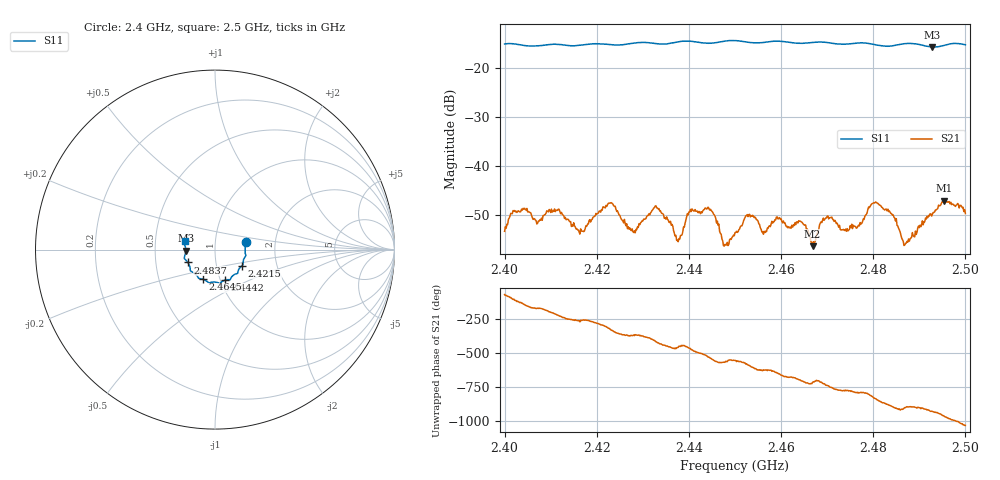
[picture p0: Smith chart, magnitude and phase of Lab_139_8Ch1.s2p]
# Hz S RI R 50
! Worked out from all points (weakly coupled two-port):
!   601 points, 2.4 GHz to 2.5 GHz, reference 50 ohm
!   highest |S21| = -47.16 dB at 2.4953 GHz (marker M1); lowest = -56.5 dB at 2.4668 GHz (marker M2)
!   lowest |S11| = -15.7 dB at 2.4928 GHz (marker M3), VSWR 1.39, Z = 35.9 - j0.394 ohm
!   |S11| at or under -10 dB: start of sweep to end of sweep
!   S12 and S22 are empty: the file has one direction only
!   S11 on the Smith chart (normalised r, x): 2.4 GHz: 1.41, +0.12; 2.4215 GHz: 1.33, -0.25; 2.4442 GHz: 1.05, -0.37; 2.4645 GHz: 0.83, -0.29; 2.4837 GHz: 0.73, -0.11; 2.5 GHz: 0.71, +0.07
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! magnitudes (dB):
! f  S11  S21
! 2.4 GHz  -15.1  -53.4
! 2.4113 GHz  -15.2  -49.1
! 2.4167 GHz  -15.3  -53.4
! 2.4215 GHz  -15.1  -48.4
! 2.4278 GHz  -15.0  -53.5
! 2.4333 GHz  -15.1  -48.8
! 2.4375 GHz  -14.7  -55.3
! 2.4402 GHz  -14.5  -49.5
! 2.4442 GHz  -15.0  -48.5
! 2.4477 GHz  -14.5  -56.5
! 2.45 GHz  -14.4  -53.7
! 2.4528 GHz  -14.7  -50.4
! 2.4645 GHz  -15.0  -51.6
! 2.4667 GHz  -14.8  -55.9
! 2.4668 GHz  -14.8  -56.5
! 2.4697 GHz  -14.8  -50.7
! 2.4833 GHz  -15.6  -49.4
! 2.4837 GHz  -15.5  -49.5
! 2.487 GHz  -15.0  -56.0
! 2.4928 GHz  -15.7  -50.0
! 2.4953 GHz  -15.4  -47.2
! 2.5 GHz  -15.3  -49.8
